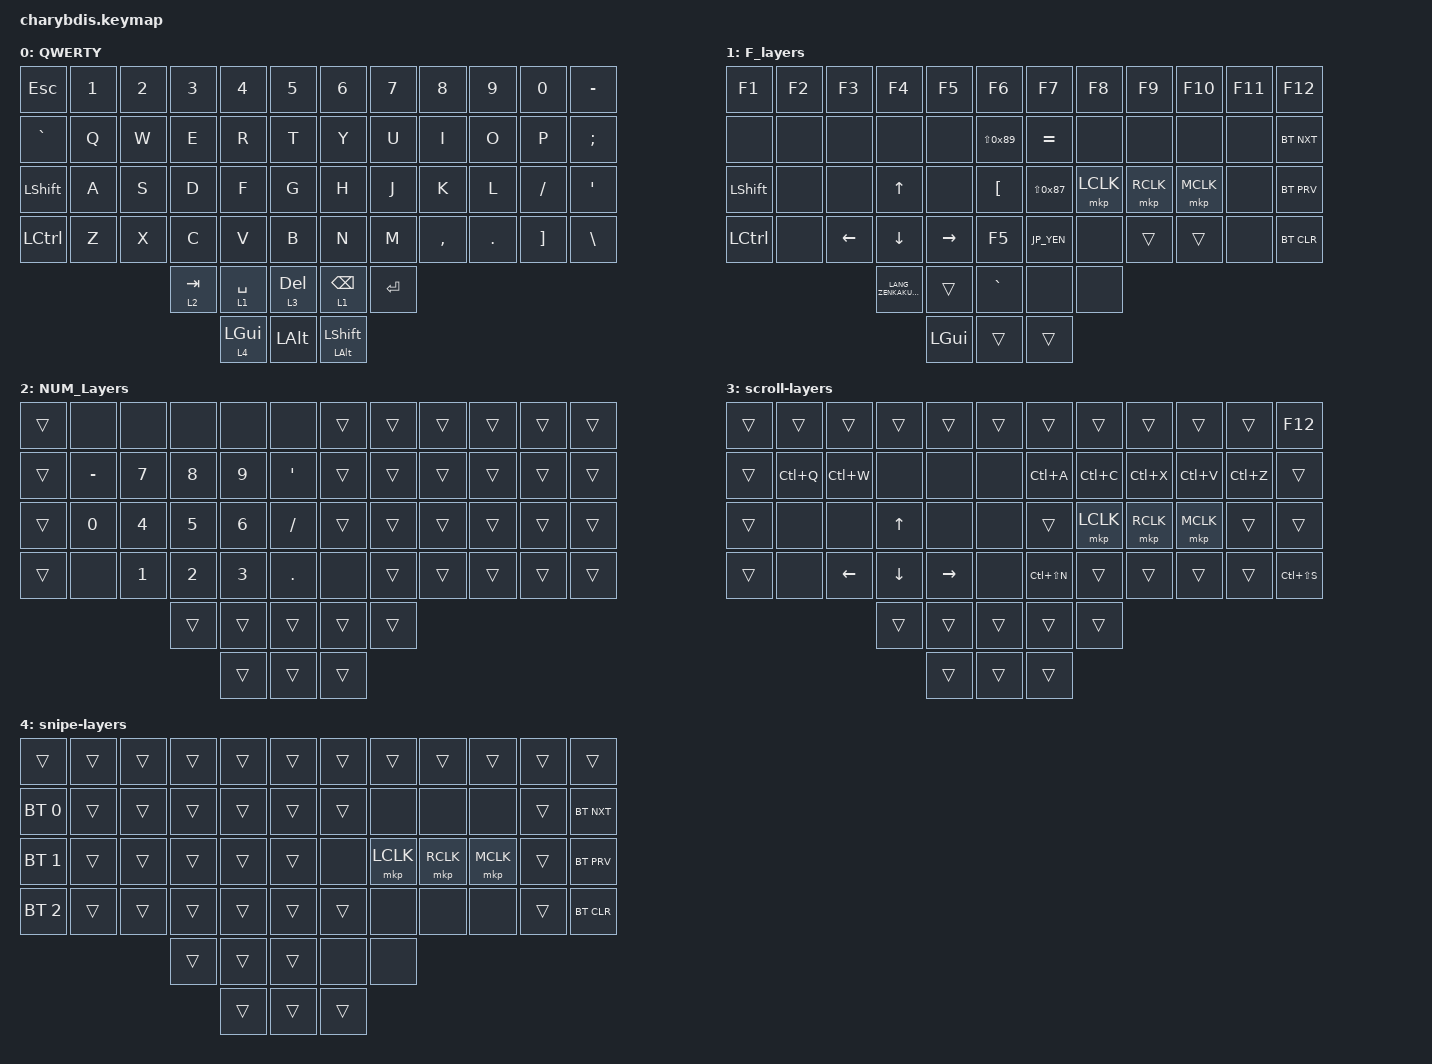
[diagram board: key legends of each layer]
#include <behaviors.dtsi>
#include <dt-bindings/zmk/bt.h>
#include <dt-bindings/zmk/keys.h>
#include <dt-bindings/zmk/pointing.h>
#include <dt-bindings/zmk/rgb.h>

#define CHARYBDIS_MINIMUM_DEFAULT_DPI 400
#define CHARYBDIS_DEFAULT_DPI_CONFIG_STEP 200
#define JP_DQUOTE       AT                // "
#define JP_AMPERSAND    CARET             // &
#define JP_QUOTE        AMPERSAND         // '
#define JP_EQUAL        UNDER             // =
#define JP_CARET        EQUAL             // ^
#define JP_YEN          0x89              // ¥
#define JP_PLUS         COLON             // +
#define JP_TILDE        PLUS              // ~
#define JP_PIPE         LS(0x89)          // |
#define JP_AT           LEFT_BRACKET      // @
#define JP_COLON        SINGLE_QUOTE      // :
#define JP_ASTERISK     DOUBLE_QUOTES     // *
#define JP_BACKQUOTE    LEFT_BRACE        // `
#define JP_UNDERSCORE   LS(0x87)          // _
#define JP_LBRACKET     RIGHT_BRACKET     // [
#define JP_RBRACKET     BACKSLASH         // ]
#define JP_LPAREN       ASTERISK          // (
#define JP_RPAREN       LEFT_PARENTHESIS  // )
#define JP_LBRACE       RIGHT_BRACE       // {
#define JP_RBRACE       PIPE              // }
#define JP_KANA         LANGUAGE_1        // かな
#define JP_EISU         LANGUAGE_2        // 英数
#define JP_HANZEN       GRAVE             // 半角/全角

&mmv { time-to-max-speed-ms = <200>; };

&lt { tapping-term-ms = <150>; };

/ {
    macros {
        To1_macro: To1_macro {
            compatible = "zmk,behavior-macro";
            label = "To1_macro";
            #binding-cells = <0>;
            bindings = <&rgb_ug RGB_EFF &rgb_ug RGB_COLOR_HSB(128,100,50) &to 1>;
        };

        To0_macro: To0_macro {
            compatible = "zmk,behavior-macro";
            label = "To0_macro";
            #binding-cells = <0>;
            bindings = <&rgb_ug RGB_EFR &to 0>;
        };

        To2_macro: To2_macro {
            compatible = "zmk,behavior-macro";
            label = "To2_macro";
            #binding-cells = <0>;
            bindings =
                <&to 2>,
                <&macro_wait_time 30>,
                <&rgb_ug RGB_COLOR_HSB(250,100,50)>;
        };
    };

    behaviors {
        lt_kp: lt_kp {
            compatible = "zmk,behavior-hold-tap";
            label = "LT_KP";
            bindings = <&mo>, <&kp>;

            #binding-cells = <2>;
            tapping-term-ms = <200>;
            quick-tap-ms = <150>;
        };

        mo3_delete: mo3_delete {
            compatible = "zmk,behavior-hold-tap";
            label = "MO3_DELETE";
            bindings = <&mo>, <&kp>;

            #binding-cells = <2>;
            tapping-term-ms = <80>;
        };
    };

    keymap {
        compatible = "zmk,keymap";

        QWERTY {
            bindings = <
&kp ESC         &kp N1  &kp N2  &kp N3     &kp N4          &kp N5                  &kp N6                   &kp N7     &kp N8     &kp N9   &kp N0             &kp MINUS
&kp GRAVE       &kp Q   &kp W   &kp E      &kp R           &kp T                   &kp Y                    &kp U      &kp I      &kp O    &kp P              &kp SEMICOLON
&kp LEFT_SHIFT  &kp A   &kp S   &kp D      &kp F           &kp G                   &kp H                    &kp J      &kp K      &kp L    &kp SLASH          &kp SQT
&kp LCTRL       &kp Z   &kp X   &kp C      &kp V           &kp B                   &kp N                    &kp M      &kp COMMA  &kp DOT  &kp RIGHT_BRACKET  &kp BACKSLASH
                                &lt 2 TAB  &lt 1 SPACE     &mo3_delete 3 DELETE    &lt_kp 1 BACKSPACE       &kp ENTER
                                           &lt 4 LEFT_GUI  &kp LEFT_ALT            &mt LEFT_ALT LEFT_SHIFT
            >;
        };

        F_layers {
            bindings = <
&kp F1          &kp F2  &kp F3          &kp F4                   &kp F5           &kp F6              &kp F7             &kp F8     &kp F9     &kp F10    &kp F11  &kp F12
&none           &none   &none           &none                    &none            &kp JP_PIPE         &kp EQUAL          &none      &none      &none      &none    &bt BT_NXT
&kp LEFT_SHIFT  &none   &none           &kp UP_ARROW             &none            &kp LEFT_BRACKET    &kp JP_UNDERSCORE  &mkp LCLK  &mkp RCLK  &mkp MCLK  &none    &bt BT_PRV
&kp LCTRL       &none   &kp LEFT_ARROW  &kp DOWN_ARROW           &kp RIGHT_ARROW  &kp F5              &kp JP_YEN         &none      &trans     &trans     &none    &bt BT_CLR
                                        &kp LANG_ZENKAKUHANKAKU  &trans           &kp GRAVE           &none              &none
                                                                 &kp LEFT_GUI     &trans              &trans
            >;
        };

        NUM_Layers {
            bindings = <
&trans  &none      &none   &none   &none   &none               &trans  &trans  &trans  &trans  &trans  &trans
&trans  &kp MINUS  &kp N7  &kp N8  &kp N9  &kp SINGLE_QUOTE    &trans  &trans  &trans  &trans  &trans  &trans
&trans  &kp N0     &kp N4  &kp N5  &kp N6  &kp SLASH           &trans  &trans  &trans  &trans  &trans  &trans
&trans  &none      &kp N1  &kp N2  &kp N3  &kp PERIOD          &none   &trans  &trans  &trans  &trans  &trans
                           &trans  &trans  &trans              &trans  &trans
                                   &trans  &trans              &trans
            >;
        };

        scroll-layers {
            bindings = <
&trans  &trans     &trans          &trans          &trans           &trans    &trans         &trans     &trans     &trans     &trans     &kp F12
&trans  &kp LC(Q)  &kp LC(W)       &none           &none            &none     &kp LC(A)      &kp LC(C)  &kp LC(X)  &kp LC(V)  &kp LC(Z)  &trans
&trans  &none      &none           &kp UP_ARROW    &none            &none     &trans         &mkp LCLK  &mkp RCLK  &mkp MCLK  &trans     &trans
&trans  &none      &kp LEFT_ARROW  &kp DOWN_ARROW  &kp RIGHT_ARROW  &none     &kp LC(LS(N))  &trans     &trans     &trans     &trans     &kp LC(LS(S))
                                   &trans          &trans           &trans    &trans         &trans
                                                   &trans           &trans    &trans
            >;
        };

        snipe-layers {
            bindings = <
&trans        &trans  &trans  &trans  &trans  &trans    &trans  &trans     &trans     &trans     &trans  &trans
&bt BT_SEL 0  &trans  &trans  &trans  &trans  &trans    &trans  &none      &none      &none      &trans  &bt BT_NXT
&bt BT_SEL 1  &trans  &trans  &trans  &trans  &trans    &none   &mkp LCLK  &mkp RCLK  &mkp MCLK  &trans  &bt BT_PRV
&bt BT_SEL 2  &trans  &trans  &trans  &trans  &trans    &trans  &none      &none      &none      &trans  &bt BT_CLR
                              &trans  &trans  &trans    &none   &none
                                      &trans  &trans    &trans
            >;
        };
    };
};
